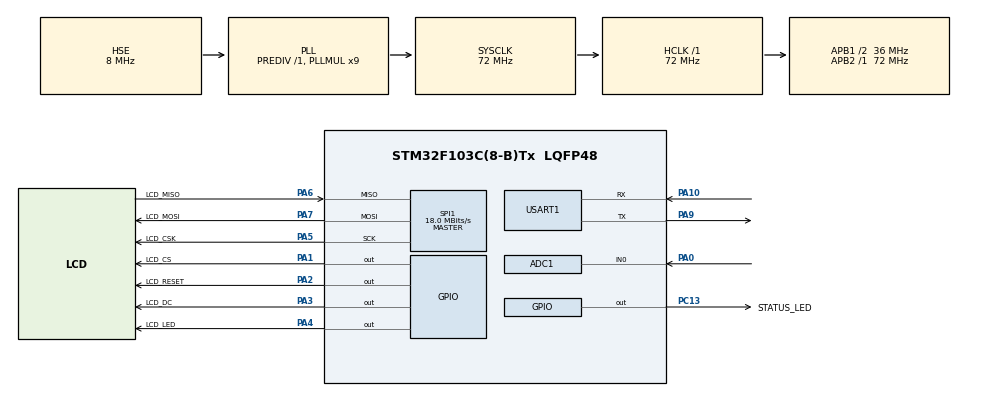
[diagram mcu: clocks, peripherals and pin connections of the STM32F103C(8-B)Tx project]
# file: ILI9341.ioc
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ADC1.Channel-0\#ChannelRegularConversion=ADC_CHANNEL_0
ADC1.NbrOfConversionFlag=1
ADC1.Rank-0\#ChannelRegularConversion=1
ADC1.SamplingTime-0\#ChannelRegularConversion=ADC_SAMPLETIME_1CYCLE_5
ADC1.master=1
Dma.Request0=SPI1_TX
Dma.SPI1_TX.0.Direction=DMA_MEMORY_TO_PERIPH
Dma.SPI1_TX.0.Instance=DMA1_Channel3
Dma.SPI1_TX.0.MemDataAlignment=DMA_MDATAALIGN_BYTE
Dma.SPI1_TX.0.MemInc=DMA_MINC_ENABLE
Dma.SPI1_TX.0.Mode=DMA_NORMAL
Dma.SPI1_TX.0.PeriphDataAlignment=DMA_PDATAALIGN_BYTE
Dma.SPI1_TX.0.PeriphInc=DMA_PINC_DISABLE
Dma.SPI1_TX.0.Priority=DMA_PRIORITY_HIGH
Mcu.Family=STM32F1
Mcu.Name=STM32F103C(8-B)Tx
Mcu.Package=LQFP48
NVIC.ADC1_2_IRQn=true\:0\:0\:false\:false\:true
NVIC.DMA1_Channel3_IRQn=true\:0\:0\:false\:false\:true
NVIC.PriorityGroup=NVIC_PRIORITYGROUP_4
PA0-WKUP.Signal=ADCx_IN0
PA1.GPIO_Label=LCD_CS
PA1.Signal=GPIO_Output
PA10.Mode=Asynchronous
PA10.Signal=USART1_RX
PA13.Mode=Serial_Wire
PA13.Signal=SYS_JTMS-SWDIO
PA14.Mode=Serial_Wire
PA14.Signal=SYS_JTCK-SWCLK
PA2.GPIO_Label=LCD_RESET
PA2.PinState=GPIO_PIN_RESET
PA2.Signal=GPIO_Output
PA3.GPIO_Label=LCD_DC
PA3.PinState=GPIO_PIN_RESET
PA3.Signal=GPIO_Output
PA4.GPIO_Label=LCD_LED
PA4.Signal=GPIO_Output
PA5.GPIO_Label=LCD_CSK
PA5.Mode=Full_Duplex_Master
PA5.Signal=SPI1_SCK
PA6.GPIO_Label=LCD_MISO
PA6.Mode=Full_Duplex_Master
PA6.Signal=SPI1_MISO
PA7.GPIO_Label=LCD_MOSI
PA7.Mode=Full_Duplex_Master
PA7.Signal=SPI1_MOSI
PA9.Mode=Asynchronous
PA9.Signal=USART1_TX
PC13-TAMPER-RTC.GPIO_Label=STATUS_LED
PC13-TAMPER-RTC.Signal=GPIO_Output
PD0-OSC_IN.Mode=HSE-External-Oscillator
PD0-OSC_IN.Signal=RCC_OSC_IN
PD1-OSC_OUT.Mode=HSE-External-Oscillator
PD1-OSC_OUT.Signal=RCC_OSC_OUT
ProjectManager.HeapSize=0x200
ProjectManager.StackSize=0x400
ProjectManager.TargetToolchain=Makefile
RCC.ADCPresc=RCC_ADCPCLK2_DIV6
RCC.AHBFreq_Value=72000000
RCC.APB1CLKDivider=RCC_HCLK_DIV2
RCC.APB1Freq_Value=36000000
RCC.APB1TimFreq_Value=72000000
RCC.APB2Freq_Value=72000000
RCC.APB2TimFreq_Value=72000000
RCC.HCLKFreq_Value=72000000
RCC.PLLMUL=RCC_PLL_MUL9
RCC.PLLSourceVirtual=RCC_PLLSOURCE_HSE
RCC.SYSCLKFreq_VALUE=72000000
RCC.SYSCLKSource=RCC_SYSCLKSOURCE_PLLCLK
RCC.USBFreq_Value=72000000
SH.ADCx_IN0.0=ADC1_IN0,IN0
SPI1.BaudRatePrescaler=SPI_BAUDRATEPRESCALER_4
SPI1.CalculateBaudRate=18.0 MBits/s
SPI1.Direction=SPI_DIRECTION_2LINES
SPI1.Mode=SPI_MODE_MASTER
SPI1.VirtualType=VM_MASTER
USART1.VirtualMode=VM_ASYNC
board=ILI9341

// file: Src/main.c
/**
  ******************************************************************************
  * File Name          : main.c
  * Description        : Main program body
  ******************************************************************************
  ** This notice applies to any and all portions of this file
  * that are not between comment pairs USER CODE BEGIN and
  * USER CODE END. Other portions of this file, whether
  * inserted by the user or by software development tools
  * are owned by their respective copyright owners.
  *
  * COPYRIGHT(c) 2017 STMicroelectronics
  *
  * Redistribution and use in source and binary forms, with or without modification,
  * are permitted provided that the following conditions are met:
  *   1. Redistributions of source code must retain the above copyright notice,
  *      this list of conditions and the following disclaimer.
  *   2. Redistributions in binary form must reproduce the above copyright notice,
  *      this list of conditions and the following disclaimer in the documentation
  *      and/or other materials provided with the distribution.
  *   3. Neither the name of STMicroelectronics nor the names of its contributors
  *      may be used to endorse or promote products derived from this software
  *      without specific prior written permission.
  *
  * THIS SOFTWARE IS PROVIDED BY THE COPYRIGHT HOLDERS AND CONTRIBUTORS "AS IS"
  * AND ANY EXPRESS OR IMPLIED WARRANTIES, INCLUDING, BUT NOT LIMITED TO, THE
  * IMPLIED WARRANTIES OF MERCHANTABILITY AND FITNESS FOR A PARTICULAR PURPOSE ARE
  * DISCLAIMED. IN NO EVENT SHALL THE COPYRIGHT HOLDER OR CONTRIBUTORS BE LIABLE
  * FOR ANY DIRECT, INDIRECT, INCIDENTAL, SPECIAL, EXEMPLARY, OR CONSEQUENTIAL
  * DAMAGES (INCLUDING, BUT NOT LIMITED TO, PROCUREMENT OF SUBSTITUTE GOODS OR
  * SERVICES; LOSS OF USE, DATA, OR PROFITS; OR BUSINESS INTERRUPTION) HOWEVER
  * CAUSED AND ON ANY THEORY OF LIABILITY, WHETHER IN CONTRACT, STRICT LIABILITY,
  * OR TORT (INCLUDING NEGLIGENCE OR OTHERWISE) ARISING IN ANY WAY OUT OF THE USE
  * OF THIS SOFTWARE, EVEN IF ADVISED OF THE POSSIBILITY OF SUCH DAMAGE.
  *
  ******************************************************************************
  */
#include "main.h"
#include "stm32f1xx_hal.h"
#include "adc.h"
#include "dma.h"
#include "spi.h"
#include "usart.h"
#include "gpio.h"

/* USER CODE BEGIN Includes */
#include <math.h>
#include "ILI9341.h"

#define M_PI 3.14159

void stled_on(void) {
    HAL_GPIO_WritePin(STATUS_LED_GPIO_Port, STATUS_LED_Pin, GPIO_PIN_SET);
}

void stled_off(void) {
    HAL_GPIO_WritePin(STATUS_LED_GPIO_Port, STATUS_LED_Pin, GPIO_PIN_RESET);
}

/* USER CODE END Includes */

/* USER CODE BEGIN PV */
/* Private variables ---------------------------------------------------------*/

/* USER CODE END PV */

void SystemClock_Config(void);

/* USER CODE BEGIN PFP */
/* Private function prototypes -----------------------------------------------*/

/* USER CODE END PFP */

int main(void)
{

  /* USER CODE BEGIN 1 */
  uint32_t adcResult = 0;
  uint8_t adc_counter = 0;
  long display;
  uint16_t measure[320];

  /* USER CODE END 1 */

  /* MCU Configuration----------------------------------------------------------*/

  /* Reset of all peripherals, Initializes the Flash interface and the Systick. */
  HAL_Init();

  /* Configure the system clock */
  SystemClock_Config();

  /* Initialize all configured peripherals */
  MX_GPIO_Init();
  MX_DMA_Init();
  MX_SPI1_Init();
  MX_USART1_UART_Init();
  MX_ADC1_Init();

  /* USER CODE BEGIN 2 */
  lcd_reset();
  HAL_GPIO_WritePin(GPIOA, LCD_LED_Pin, GPIO_PIN_SET);
  ILI9341_begin(&hspi1);
  ILI9341_fillScreen(ILI9341_BLACK);
  ILI9341_setRotation(3);
  ILI9341_fillScreen(ILI9341_BLACK);

  /* USER CODE END 2 */

  /* Infinite loop */
  while (1)
  {

  /* USER CODE BEGIN 3 */
    for(uint16_t i = 0; i < 320; i++)
    {
      if(!i) // clear display & redraw grid
      {
        for(uint16_t j = 0; j < 320; j++)
        {
          ILI9341_fillCircle(j, measure[j], 1, ILI9341_BLACK);
        }
        for(uint16_t i = 5; i<315; i+=30)
        {
          ILI9341_drawLine( i, 5, i, 235, ILI9341_OLIVE);
        }
        for(uint16_t i = 5; i<315; i+=30)
        {
          ILI9341_drawLine( 5, i, 315, i, ILI9341_OLIVE);
        }
      }
      HAL_ADC_Start(&hadc1);
      HAL_ADC_PollForConversion(&hadc1, 100);
      adcResult += HAL_ADC_GetValue(&hadc1);
      adc_counter++;
      if(adc_counter > 3)
      {
        display = adcResult/adc_counter/1.246;
        adc_counter = 0;
        adcResult = 0;
        HAL_ADC_Stop(&hadc1);
      }
      ILI9341_fillCircle(i, measure[i] = 235-display/15, 1, ILI9341_GREEN);
      HAL_Delay(10);
    }
  }
  /* USER CODE END 3 */

}

/** System Clock Configuration
*/
void SystemClock_Config(void)
{

  RCC_OscInitTypeDef RCC_OscInitStruct;
  RCC_ClkInitTypeDef RCC_ClkInitStruct;
  RCC_PeriphCLKInitTypeDef PeriphClkInit;

    /**Initializes the CPU, AHB and APB busses clocks
    */
  RCC_OscInitStruct.OscillatorType = RCC_OSCILLATORTYPE_HSE;
  RCC_OscInitStruct.HSEState = RCC_HSE_ON;
  RCC_OscInitStruct.HSEPredivValue = RCC_HSE_PREDIV_DIV1;
  RCC_OscInitStruct.HSIState = RCC_HSI_ON;
  RCC_OscInitStruct.PLL.PLLState = RCC_PLL_ON;
  RCC_OscInitStruct.PLL.PLLSource = RCC_PLLSOURCE_HSE;
  RCC_OscInitStruct.PLL.PLLMUL = RCC_PLL_MUL9;
  if (HAL_RCC_OscConfig(&RCC_OscInitStruct) != HAL_OK)
  {
    _Error_Handler(__FILE__, __LINE__);
  }

    /**Initializes the CPU, AHB and APB busses clocks
    */
  RCC_ClkInitStruct.ClockType = RCC_CLOCKTYPE_HCLK|RCC_CLOCKTYPE_SYSCLK
                              |RCC_CLOCKTYPE_PCLK1|RCC_CLOCKTYPE_PCLK2;
  RCC_ClkInitStruct.SYSCLKSource = RCC_SYSCLKSOURCE_PLLCLK;
  RCC_ClkInitStruct.AHBCLKDivider = RCC_SYSCLK_DIV1;
  RCC_ClkInitStruct.APB1CLKDivider = RCC_HCLK_DIV2;
  RCC_ClkInitStruct.APB2CLKDivider = RCC_HCLK_DIV1;

  if (HAL_RCC_ClockConfig(&RCC_ClkInitStruct, FLASH_LATENCY_2) != HAL_OK)
  {
    _Error_Handler(__FILE__, __LINE__);
  }

  PeriphClkInit.PeriphClockSelection = RCC_PERIPHCLK_ADC;
  PeriphClkInit.AdcClockSelection = RCC_ADCPCLK2_DIV6;
  if (HAL_RCCEx_PeriphCLKConfig(&PeriphClkInit) != HAL_OK)
  {
    _Error_Handler(__FILE__, __LINE__);
  }

    /**Configure the Systick interrupt time
    */
  HAL_SYSTICK_Config(HAL_RCC_GetHCLKFreq()/1000);

    /**Configure the Systick
    */
  HAL_SYSTICK_CLKSourceConfig(SYSTICK_CLKSOURCE_HCLK);

  /* SysTick_IRQn interrupt configuration */
  HAL_NVIC_SetPriority(SysTick_IRQn, 0, 0);
}

void _Error_Handler(char * file, int line)
{
  while(1)
  {
  }
}

/************************ (C) COPYRIGHT STMicroelectronics *****END OF FILE****/
